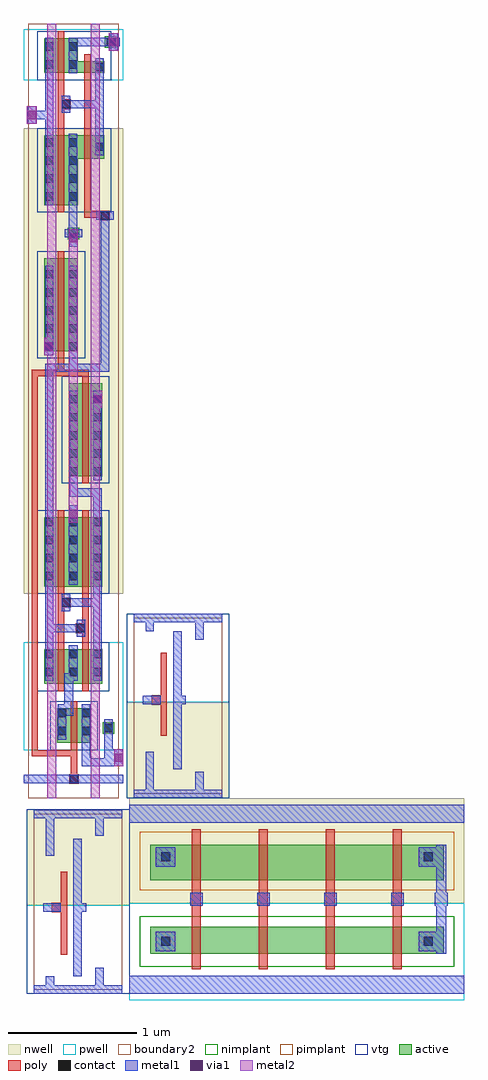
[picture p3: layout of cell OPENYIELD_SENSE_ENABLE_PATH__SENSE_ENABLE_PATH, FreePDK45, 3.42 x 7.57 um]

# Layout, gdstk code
import gdstk
lib = gdstk.Library(unit=1e-6, precision=5e-10)
def R(c, l, rs):  # rectangles x0, y0, x1, y1
    for r in rs: c.add(gdstk.rectangle(r[:2], r[2:], *l))
def A(c, l, x, y, w, h, nx, ny, dx, dy):  # array of equal rectangles
    R(c, l, [(x+i*dx, y+j*dy, x+i*dx+w, y+j*dy+h) for i in range(nx) for j in range(ny)])
def P(c, l, *ps):  # polygons
    for p in ps: c.add(gdstk.Polygon(p, *l))
active = (1, 0)
pwell = (2, 0)
nwell = (3, 0)
nimplant = (4, 0)
pimplant = (5, 0)
vtg = (6, 0)
poly = (9, 0)
contact = (10, 0)
metal1 = (11, 0)
via1 = (12, 0)
metal2 = (13, 0)
boundary2 = (239, 0)

openyield_sense_enable_p = lib.new_cell('OPENYIELD_SENSE_ENABLE_PATH__gen_inv')
R(openyield_sense_enable_p, pwell, [(-0.055,-0.033,0.743,0.655)])
R(openyield_sense_enable_p, nwell, [(-0.055,0.655,0.743,1.4)])
R(openyield_sense_enable_p, vtg, [(-0.055,-0.033,0.743,0.655), (-0.055,0.655,0.743,1.4)])
R(openyield_sense_enable_p, poly, [(0.208,0.27,0.258,0.915), (0.14,0.6,0.208,0.675)])
R(openyield_sense_enable_p, metal1, [(0,-0.033,0.687,0.033), (0.092,-0.033,0.157,0.103), (0.478,0,0.542,0.17), (0.307,0.103,0.372,1.173), (0.072,0.605,0.208,0.67), (0.34,0.605,0.405,0.67), (0.092,1.038,0.157,1.397), (0.478,1.195,0.542,1.365), (0,1.332,0.687,1.397)])
R(openyield_sense_enable_p, boundary2, [(0,0,0.687,1.365), (0,0,0.687,1.365)])
openyield_sense_enable_p.add(gdstk.Label('A', (0.14,0.638), layer=11, texttype=0))
openyield_sense_enable_p.add(gdstk.Label('Z', (0.372,0.638), layer=11, texttype=0))
openyield_sense_enable_p.add(gdstk.Label('gnd', (0.345,0), layer=11, texttype=0))
openyield_sense_enable_p.add(gdstk.Label('vdd', (0.345,1.365), layer=11, texttype=0))

c_openyield_sense_enable_p = lib.new_cell('OPENYIELD_SENSE_ENABLE_PATH__gen_nand4')
R(c_openyield_sense_enable_p, active, [(0.16,0.36,2.44,0.57), (0.16,0.93,2.44,1.205)])
R(c_openyield_sense_enable_p, pwell, [(0,0,2.6,0.75)])
R(c_openyield_sense_enable_p, nwell, [(0,0.75,2.6,1.565)])
R(c_openyield_sense_enable_p, nimplant, [(0.08,0.26,2.52,0.65)])
R(c_openyield_sense_enable_p, pimplant, [(0.08,0.85,2.52,1.305)])
A(c_openyield_sense_enable_p, poly, 0.485, 0.24, 0.07, 1.085, 4, 1, 0.52, 0)
R(c_openyield_sense_enable_p, contact, [(0.245,0.42,0.315,0.49), (2.285,0.42,2.355,0.49), (0.245,1.075,0.315,1.145), (2.285,1.075,2.355,1.145)])
A(c_openyield_sense_enable_p, metal1, 0.47, 0.733, 0.1, 0.099, 4, 1, 0.52, 0)
R(c_openyield_sense_enable_p, metal1, [(0,0.05,2.6,0.19), (1.25,0.07,1.35,0.17), (2.38,0.36,2.46,1.205), (0.205,0.38,0.355,0.53), (2.245,0.38,2.395,0.53), (2.37,0.733,2.47,0.832), (0.205,1.035,0.355,1.185), (2.245,1.035,2.395,1.185), (0,1.375,2.6,1.515), (1.25,1.395,1.35,1.495)])

c_openyield_sense_enable_p_ = lib.new_cell('OPENYIELD_SENSE_ENABLE_PATH__sense_amp')
R(c_openyield_sense_enable_p_, active, [(0.595,0.095,0.685,0.185), (0.307,1.58,0.397,1.67), (0.127,1.82,0.387,2.54), (0.127,1.82,0.202,2.54), (0.127,1.82,0.202,2.54), (0.312,1.82,0.387,2.54), (0.312,1.82,0.387,2.54), (0.127,1.905,0.202,2.54), (0.312,1.905,0.387,2.54), (0.317,2.79,0.577,3.51), (0.317,2.79,0.392,3.51), (0.317,2.79,0.392,3.51), (0.502,2.79,0.577,3.51), (0.502,2.79,0.577,3.51), (0.317,2.875,0.392,3.51), (0.502,2.875,0.577,3.51), (0.127,3.827,0.202,4.322), (0.127,3.827,0.387,4.367), (0.127,3.827,0.202,4.367), (0.127,3.827,0.202,4.367), (0.312,3.827,0.387,4.322), (0.312,3.827,0.387,4.367), (0.312,3.827,0.387,4.367), (0.317,3.827,0.392,4.322), (0.317,3.827,0.577,4.367), (0.317,3.827,0.392,4.367), (0.317,3.827,0.392,4.367), (0.502,3.827,0.577,4.322), (0.502,3.827,0.577,4.367), (0.502,3.827,0.577,4.367), (0.127,4.852,0.202,5.067), (0.127,4.852,0.387,5.122), (0.127,4.852,0.202,5.122), (0.127,4.852,0.202,5.122), (0.312,4.852,0.387,5.067), (0.312,4.852,0.387,5.122), (0.312,4.852,0.387,5.122), (0.317,4.852,0.392,5.067), (0.317,4.852,0.577,5.122), (0.317,4.852,0.392,5.122), (0.317,4.852,0.392,5.122), (0.502,4.852,0.577,5.067), (0.502,4.852,0.577,5.122), (0.502,4.852,0.577,5.122), (0.227,5.31,0.302,5.525), (0.227,5.31,0.487,5.58), (0.227,5.31,0.302,5.58), (0.227,5.31,0.302,5.58), (0.412,5.31,0.487,5.525), (0.412,5.31,0.487,5.58), (0.412,5.31,0.487,5.58), (0.58,5.42,0.67,5.51)])
P(c_openyield_sense_enable_p_, active, [(0.127,0.11),(0.127,0.38),(0.592,0.38),(0.592,0.29),(0.387,0.29),(0.387,0.11)],
  [(0.127,0.865),(0.127,1.405),(0.387,1.405),(0.387,1.045),(0.592,1.045),(0.592,0.865)])
R(c_openyield_sense_enable_p_, pwell, [(-0.035,0.055,0.74,0.435), (-0.035,4.797,0.74,5.635), (0.072,4.797,0.442,5.177), (0.262,4.797,0.632,5.177), (0.172,5.255,0.542,5.635), (0.525,5.365,0.725,5.565)])
P(c_openyield_sense_enable_p_, pwell, [(-0.035,0.04),(-0.035,0.055),(0.595,0.055),(0.595,0.095),(0.685,0.095),(0.685,0.055),(0.74,0.055),(0.74,0.04)])
R(c_openyield_sense_enable_p_, nwell, [(-0.035,0.81,0.74,4.422), (0.072,1.765,0.442,2.595), (0.262,2.735,0.632,3.565), (0.072,3.772,0.442,4.422), (0.262,3.772,0.632,4.422)])
R(c_openyield_sense_enable_p_, nimplant, [(0.307,1.58,0.397,1.67), (0.127,4.852,0.387,5.122), (0.317,4.852,0.577,5.122), (0.227,5.31,0.487,5.58)])
P(c_openyield_sense_enable_p_, nimplant, [(0.127,0.11),(0.127,0.38),(0.592,0.38),(0.592,0.29),(0.387,0.29),(0.387,0.11)])
R(c_openyield_sense_enable_p_, pimplant, [(0.595,0.095,0.685,0.185), (0.127,1.82,0.387,2.54), (0.317,2.79,0.577,3.51), (0.127,3.827,0.387,4.367), (0.317,3.827,0.577,4.367), (0.58,5.42,0.67,5.51)])
P(c_openyield_sense_enable_p_, pimplant, [(0.127,0.865),(0.127,1.405),(0.387,1.405),(0.387,1.045),(0.592,1.045),(0.592,0.865)])
R(c_openyield_sense_enable_p_, vtg, [(0.072,0.055,0.647,0.435), (0.072,0.81,0.645,1.46), (0.072,1.765,0.442,2.595), (0.262,2.735,0.632,3.565), (0.072,3.772,0.442,4.422), (0.262,3.772,0.632,4.422), (0.072,4.797,0.442,5.177), (0.262,4.797,0.632,5.177), (0.172,5.255,0.542,5.635)])
R(c_openyield_sense_enable_p_, poly, [(0.232,0.055,0.282,1.46), (0.257,0.585,0.332,0.66), (0.232,1.765,0.282,1.82), (0.232,1.765,0.282,2.595), (0.232,2.54,0.282,2.595), (0.232,2.595,0.282,2.685), (0.027,2.685,0.472,2.735), (0.027,2.735,0.077,5.635), (0.422,2.735,0.472,2.79), (0.422,2.735,0.472,3.565), (0.422,3.51,0.472,3.565), (0.232,3.772,0.282,3.827), (0.232,3.772,0.282,4.422), (0.422,3.772,0.472,3.827), (0.422,3.772,0.472,4.422), (0.232,4.04,0.282,4.797), (0.422,4.04,0.472,4.797), (0.232,4.367,0.282,4.422), (0.422,4.367,0.472,4.422), (0.257,4.452,0.332,4.527), (0.372,4.652,0.447,4.727), (0.232,4.797,0.282,4.852), (0.232,4.797,0.282,5.177), (0.422,4.797,0.472,4.852), (0.422,4.797,0.472,5.177), (0.232,5.122,0.282,5.177), (0.422,5.122,0.472,5.177), (0.332,5.255,0.382,5.31), (0.332,5.255,0.382,5.635), (0.332,5.58,0.382,5.635), (0.027,5.635,0.382,5.685), (0.332,5.685,0.382,5.89), (0.32,5.822,0.395,5.897)])
P(c_openyield_sense_enable_p_, poly, [(0.437,0.235),(0.437,1.505),(0.56,1.505),(0.56,1.525),(0.635,1.525),(0.635,1.45),(0.487,1.45),(0.487,0.235)])
A(c_openyield_sense_enable_p_, contact, 0.132, 0.887, 0.065, 0.065, 1, 4, 0, 0.14)
A(c_openyield_sense_enable_p_, contact, 0.317, 0.887, 0.065, 0.065, 1, 4, 0, 0.14)
A(c_openyield_sense_enable_p_, contact, 0.132, 1.91, 0.065, 0.065, 1, 5, 0, 0.14)
A(c_openyield_sense_enable_p_, contact, 0.317, 1.91, 0.065, 0.065, 1, 5, 0, 0.14)
A(c_openyield_sense_enable_p_, contact, 0.322, 2.88, 0.065, 0.065, 1, 5, 0, 0.14)
A(c_openyield_sense_enable_p_, contact, 0.507, 2.88, 0.065, 0.065, 1, 5, 0, 0.14)
A(c_openyield_sense_enable_p_, contact, 0.132, 3.832, 0.065, 0.065, 1, 4, 0, 0.14)
A(c_openyield_sense_enable_p_, contact, 0.322, 3.832, 0.065, 0.065, 1, 4, 0, 0.14)
A(c_openyield_sense_enable_p_, contact, 0.507, 3.832, 0.065, 0.065, 1, 4, 0, 0.14)
R(c_openyield_sense_enable_p_, contact, [(0.61,0.107,0.675,0.172), (0.132,0.142,0.197,0.207), (0.317,0.142,0.382,0.207), (0.132,0.282,0.197,0.347), (0.317,0.282,0.382,0.347), (0.522,0.3,0.587,0.365), (0.262,0.59,0.327,0.655), (0.522,0.92,0.587,0.985), (0.565,1.455,0.63,1.52), (0.32,1.592,0.385,1.657), (0.262,4.457,0.327,4.522), (0.377,4.657,0.442,4.722), (0.132,4.857,0.197,4.922), (0.322,4.857,0.387,4.922), (0.507,4.857,0.572,4.922), (0.132,4.997,0.197,5.062), (0.322,4.997,0.387,5.062), (0.507,4.997,0.572,5.062), (0.232,5.315,0.297,5.38), (0.417,5.315,0.482,5.38), (0.592,5.432,0.657,5.497), (0.232,5.455,0.297,5.52), (0.417,5.455,0.482,5.52), (0.325,5.827,0.39,5.892)])
R(c_openyield_sense_enable_p_, metal1, [(0.132,0.107,0.197,1.407), (0.317,0.107,0.382,0.382), (0.382,0.107,0.567,0.172), (0.522,0.265,0.587,0.3), (0.262,0.555,0.327,0.69), (-0.002,0.64,0.062,0.775), (-0.007,0.67,0.067,0.745), (0.067,0.675,0.132,0.74), (0.317,0.852,0.382,0.887), (0.317,0.887,0.382,1.657), (0.522,0.985,0.587,1.02), (0.53,1.455,0.665,1.52), (0.565,1.455,0.63,2.7), (0.285,1.592,0.42,1.657), (0.32,1.592,0.385,1.727), (0.132,1.875,0.197,2.57), (0.317,1.875,0.382,2.57), (0.127,2.435,0.192,2.57), (0.32,2.502,0.385,2.7), (0.132,2.635,0.63,2.7), (0.132,2.7,0.197,3.797), (0.322,2.845,0.387,3.54), (0.507,2.845,0.572,3.54), (0.51,2.845,0.575,2.98), (0.322,3.475,0.387,3.67), (0.322,3.605,0.572,3.67), (0.507,3.605,0.572,3.8), (0.32,3.735,0.385,3.87), (0.132,3.797,0.197,4.352), (0.317,3.797,0.382,4.352), (0.322,3.797,0.387,4.352), (0.507,3.797,0.572,4.352), (0.132,3.96,0.197,4.827), (0.507,3.96,0.572,4.822), (0.262,4.422,0.327,4.557), (0.282,4.457,0.572,4.522), (0.377,4.622,0.442,4.757), (0.132,4.657,0.422,4.722), (0.132,4.822,0.197,5.097), (0.317,4.822,0.382,5.097), (0.322,4.822,0.387,5.097), (0.507,4.822,0.572,5.097), (0.282,5.04,0.352,5.367), (0.232,5.28,0.297,5.555), (0.417,5.28,0.482,5.555), (0.592,5.397,0.657,5.532), (0.592,5.532,0.657,5.762), (0.417,5.545,0.482,5.697), (0.657,5.627,0.672,5.697), (0.672,5.627,0.737,5.762), (0.417,5.697,0.74,5.762), (-0.035,5.827,0.74,5.892), (0.23,5.827,0.295,5.892), (0.29,5.827,0.425,5.892)])
P(c_openyield_sense_enable_p_, metal1, [(0.522,0.3),(0.522,0.59),(0.262,0.59),(0.262,0.655),(0.522,0.655),(0.522,0.985),(0.587,0.985),(0.587,0.3)],
  [(0.632,0.072),(0.632,0.107),(0.567,0.107),(0.567,0.172),(0.632,0.172),(0.632,0.207),(0.697,0.207),(0.697,0.172),(0.71,0.172),(0.71,0.107),(0.697,0.107),(0.697,0.072)],
  [(0,1.452),(0,1.452),(0,1.452),(0,1.452)])
R(c_openyield_sense_enable_p_, via1, [(0.632,0.107,0.697,0.172), (-0.002,0.675,0.062,0.74), (0.32,1.627,0.385,1.692), (0.127,2.47,0.192,2.535), (0.51,2.88,0.575,2.945), (0.32,3.77,0.385,3.835), (0.672,5.662,0.737,5.727)])
R(c_openyield_sense_enable_p_, metal2, [(0.15,0,0.22,6.01), (0.485,0,0.555,6.01), (0.627,0.072,0.702,0.207), (0.627,0.102,0.702,0.177), (-0.01,0.64,0.067,0.775), (-0.007,0.67,0.067,0.745), (0.317,1.592,0.387,1.727), (0.317,1.725,0.387,3.735), (0.125,2.435,0.195,2.57), (0.507,2.845,0.577,2.98), (0.317,3.735,0.387,3.87), (0.67,5.627,0.74,5.762)])
R(c_openyield_sense_enable_p_, boundary2, [(0,0,0.705,6.01)])
c_openyield_sense_enable_p_.add(gdstk.Label('en', (0.258,5.86), layer=11, texttype=0))
c_openyield_sense_enable_p_.add(gdstk.Label('dout', (0.028,0.692), layer=13, texttype=0))
c_openyield_sense_enable_p_.add(gdstk.Label('gnd', (0.655,0.123), layer=13, texttype=0))
c_openyield_sense_enable_p_.add(gdstk.Label('bl', (0.19,0.005), layer=13, texttype=0))
c_openyield_sense_enable_p_.add(gdstk.Label('br', (0.52,0.006), layer=13, texttype=0))
c_openyield_sense_enable_p_.add(gdstk.Label('vdd', (0.352,3.8), layer=13, texttype=0))
c_openyield_sense_enable_p_.add(gdstk.Label('gnd', (0.702,5.735), layer=13, texttype=0))

c_openyield_sense_enable_p__ = lib.new_cell('OPENYIELD_SENSE_ENABLE_PATH__SENSE_ENABLE_PATH')
c_openyield_sense_enable_p__.add(gdstk.Reference(openyield_sense_enable_p, (0.08,0.08)))
c_openyield_sense_enable_p__.add(gdstk.Reference(c_openyield_sense_enable_p, (0.822,0)))
c_openyield_sense_enable_p__.add(gdstk.Reference(c_openyield_sense_enable_p_, (0.035,7.575), x_reflection=True))
c_openyield_sense_enable_p__.add(gdstk.Reference(openyield_sense_enable_p, (0.855,2.965), x_reflection=True))

lib.write_gds('OPENYIELD_SENSE_ENABLE_PATH__SENSE_ENABLE_PATH.gds')
